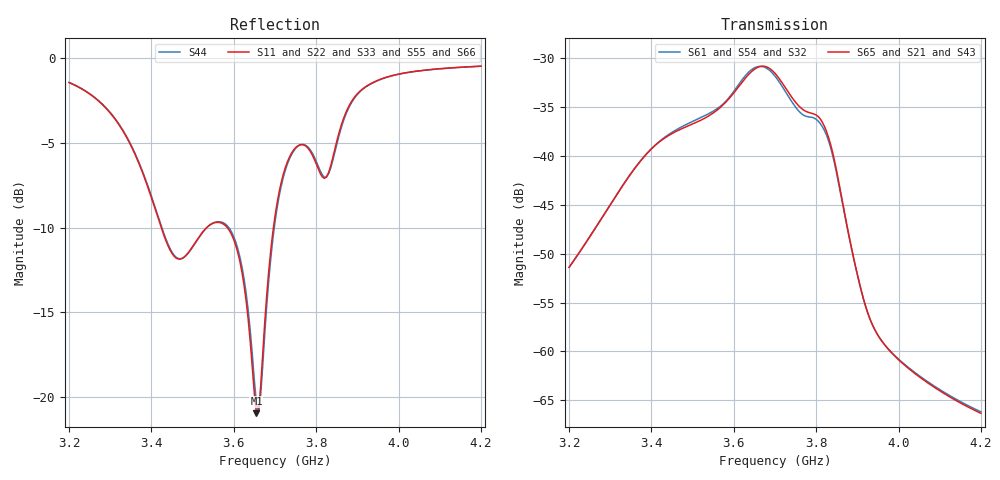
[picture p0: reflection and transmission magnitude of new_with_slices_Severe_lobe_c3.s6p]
! Touchstone file exported from HFSS 2024.2.0
!  File:  D:/Jatin/new_with_slices.aedt
!  Generated:  09:19:46 AM Oct  4, 2026
!  Design:  Severe_lobe
!  Project:  new_with_slices
!  Setup:  Setup1
!  Solution:  Sweep
! Variables:
!  $L = 85mm
!  $W = 35mm
!  H = 1.575mm
!  L = 42mm
!  W = 35mm
!  Wb = 6mm
!  a = 3.5mm
!  ant_dist = 115mm
!  ant_gap = 3mm
!  b = 5mm
!  c = 5mm
!  d = 2mm
!  e_S1 = 15.5mm
!  e_S2 = 17.5mm
!  e_S3 = 18mm
!  e_S4 = 11.5mm
!  e_S5 = 18mm
!  e_S6 = 17.5mm
!  g1 = 2mm
!  g2 = 2mm
!  g3 = 1mm
!  g4 = 2mm
!  gap = 10mm
!  r1 = 3.5mm
!  r2 = 6mm
!  r_brain = 95mm
!  r_brain_ad = 61.68mm
!  r_csf = 95.5mm
!  r_csf_expanded = 64.6mm
!  r_csf_inner = 61.68mm
!  r_csf_outer = 83.5mm
!  r_fat = 87.5mm
!  r_gray = 70.55mm
!  r_gray_healthy = 83mm
!  r_grey_healthy = 83mm
!  r_hip = 7.5mm
!  r_hippo_healthy = 25mm
!  r_skin = 88mm
!  r_skull = 86.5mm
!  r_white = 17.5mm
!  r_white_healthy = 76mm
!  slot_distance = 15mm
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# GHz S MA R 50.000000
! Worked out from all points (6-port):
!   201 points, 3.2 GHz to 4.2 GHz, reference 50 ohm
!   strongest paths, dB at 3.2 GHz, 3.45 GHz, 3.7 GHz, 3.95 GHz, 4.2 GHz:
!     S65: -51.4, -37.7, -31.6, -58.4, -66.3
!     S21: -51.5, -37.6, -31.8, -58.4, -66.1
!     S61: -51.4, -37.6, -31.8, -58.3, -66.2
!     S43: -51.5, -37.8, -31.6, -58.4, -66.3
!     S54: -51.4, -37.6, -31.9, -58.5, -66.3
!     S32: -51.4, -37.6, -32.1, -58.5, -66.4
!   lowest |S11| = -21.0 dB at 3.655 GHz (marker M1), VSWR 1.20, Z = 43 - j4.58 ohm
!   |S11| at or under -10 dB: 3.424 GHz to 3.534 GHz (110 MHz wide, 3.16 % of centre); 3.584 GHz to 3.696 GHz (111.8 MHz wide, 3.07 % of centre)
